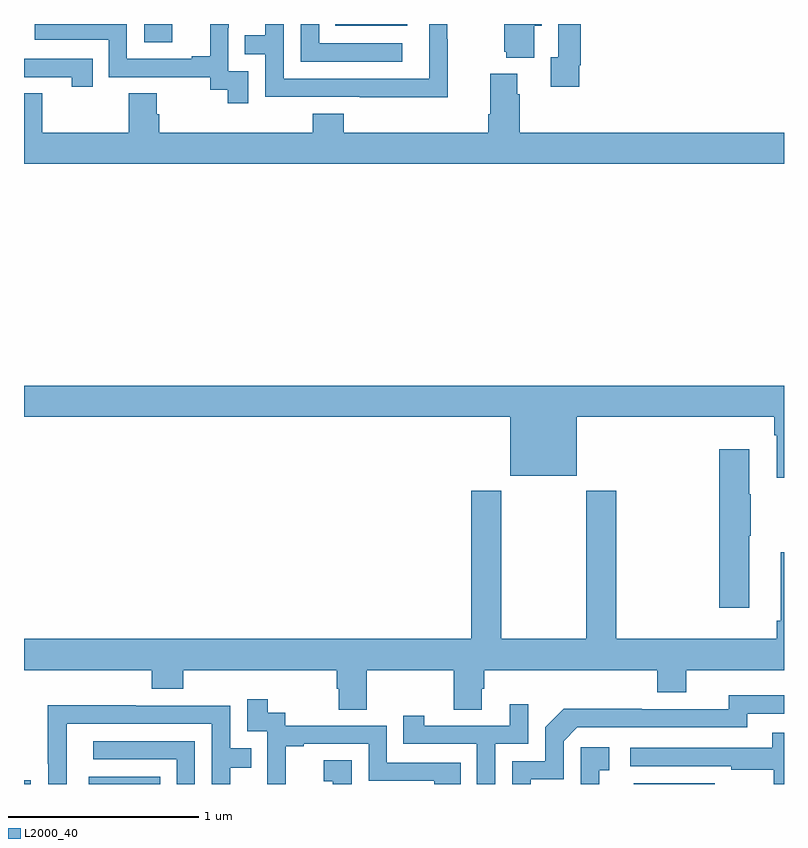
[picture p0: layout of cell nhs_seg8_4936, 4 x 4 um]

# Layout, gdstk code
import gdstk
lib = gdstk.Library(unit=1e-6, precision=1e-09)
def R(c, l, rs):  # rectangles x0, y0, x1, y1
    for r in rs: c.add(gdstk.rectangle(r[:2], r[2:], *l))
def P(c, l, *ps):  # polygons
    for p in ps: c.add(gdstk.Polygon(p, *l))
L2000_40 = (2000, 40)

nhs_seg8_4936 = lib.new_cell('nhs_seg8_4936')
R(nhs_seg8_4936, L2000_40, [(409,1115.9,409.035,1115.92), (409.34,1115.9,409.718,1115.938), (412.208,1115.9,412.636,1115.905), (409.632,1119.804,409.78,1119.9), (410.638,1119.89,411.016,1119.9)])
P(nhs_seg8_4936, L2000_40, [(411.231,1119.821),(411.228,1119.821),(411.228,1119.9),(411.132,1119.9),(411.132,1119.612),(410.367,1119.612),(410.367,1119.9),(410.271,1119.9),(410.271,1119.842),(410.161,1119.842),(410.161,1119.741),(410.271,1119.741),(410.271,1119.516),(410.767,1119.516),(410.767,1119.515),(411.231,1119.515)],
  [(410.992,1119.798),(410.553,1119.798),(410.553,1119.9),(410.457,1119.9),(410.457,1119.702),(410.992,1119.702)],
  [(410.181,1119.651),(410.076,1119.651),(410.076,1119.881),(410.078,1119.881),(410.078,1119.9),(409.979,1119.9),(409.979,1119.73),(409.883,1119.73),(409.883,1119.717),(409.542,1119.717),(409.542,1119.9),(409.057,1119.9),(409.057,1119.816),(409.446,1119.816),(409.446,1119.621),(409.98,1119.621),(409.98,1119.553),(410.073,1119.553),(410.073,1119.483),(410.181,1119.483)],
  [(411.922,1119.682),(411.929,1119.682),(411.929,1119.9),(411.813,1119.9),(411.813,1119.726),(411.773,1119.726),(411.773,1119.57),(411.922,1119.57)],
  [(411.685,1119.89),(411.724,1119.89),(411.724,1119.9),(411.527,1119.9),(411.527,1119.753),(411.539,1119.753),(411.539,1119.722),(411.685,1119.722)],
  [(409.361,1119.717),(409,1119.717),(409,1119.621),(409.25,1119.621),(409.25,1119.57),(409.361,1119.57)],
  [(413,1119.328),(411.608,1119.328),(411.608,1119.53),(411.595,1119.53),(411.595,1119.637),(411.455,1119.637),(411.455,1119.424),(411.443,1119.424),(411.443,1119.328),(410.684,1119.328),(410.684,1119.427),(410.519,1119.427),(410.519,1119.328),(409.712,1119.328),(409.712,1119.426),(409.699,1119.426),(409.699,1119.536),(409.552,1119.536),(409.552,1119.328),(409.095,1119.328),(409.095,1119.536),(409,1119.536),(409,1119.164),(413,1119.164)],
  [(413,1117.996),(409,1117.996),(409,1117.832),(411.56,1117.832),(411.56,1117.523),(411.91,1117.523),(411.91,1117.832),(412.949,1117.832),(412.949,1117.736),(412.961,1117.736),(412.961,1117.512),(413,1117.512)],
  [(412.816,1117.207),(412.824,1117.207),(412.824,1117.424),(412.816,1117.424),(412.816,1117.663),(412.658,1117.663),(412.658,1116.828),(412.816,1116.828)],
  [(410.805,1116.5),(411.262,1116.5),(411.262,1116.292),(411.409,1116.292),(411.409,1116.402),(411.422,1116.402),(411.422,1116.5),(412.334,1116.5),(412.334,1116.383),(412.486,1116.383),(412.486,1116.5),(413,1116.5),(413,1117.12),(412.982,1117.12),(412.982,1116.76),(412.963,1116.76),(412.963,1116.664),(412.118,1116.664),(412.118,1117.444),(411.958,1117.444),(411.958,1116.664),(411.513,1116.664),(411.513,1117.444),(411.353,1117.444),(411.353,1116.664),(409,1116.664),(409,1116.5),(409.673,1116.5),(409.673,1116.401),(409.838,1116.401),(409.838,1116.5),(410.645,1116.5),(410.645,1116.402),(410.657,1116.402),(410.657,1116.292),(410.805,1116.292)],
  [(411.667,1115.925),(411.84,1115.925),(411.84,1116.126),(411.912,1116.198),(412.806,1116.198),(412.806,1116.27),(413,1116.27),(413,1116.367),(412.71,1116.367),(412.71,1116.294),(412.25,1116.294),(412.25,1116.296),(411.842,1116.296),(411.744,1116.198),(411.744,1116.021),(411.57,1116.021),(411.57,1115.9),(411.667,1115.9)],
  [(410.378,1116.099),(410.473,1116.099),(410.473,1116.111),(410.814,1116.111),(410.814,1115.916),(411.159,1115.916),(411.159,1115.9),(411.299,1115.9),(411.299,1116.012),(410.91,1116.012),(410.91,1116.207),(410.376,1116.207),(410.376,1116.276),(410.284,1116.276),(410.284,1116.346),(410.175,1116.346),(410.175,1116.177),(410.28,1116.177),(410.28,1115.948),(410.279,1115.948),(410.279,1115.9),(410.378,1115.9)],
  [(411.48,1116.111),(411.654,1116.111),(411.654,1116.319),(411.557,1116.319),(411.557,1116.207),(411.106,1116.207),(411.106,1116.259),(410.995,1116.259),(410.995,1116.111),(411.384,1116.111),(411.384,1115.9),(411.48,1115.9)],
  [(409.224,1116.216),(409.989,1116.216),(409.989,1115.9),(410.085,1115.9),(410.085,1115.986),(410.195,1115.986),(410.195,1116.087),(410.085,1116.087),(410.085,1116.312),(409.589,1116.312),(409.589,1116.314),(409.126,1116.314),(409.126,1116.007),(409.128,1116.007),(409.128,1115.9),(409.224,1115.9)],
  [(413,1116.169),(412.939,1116.169),(412.939,1116.09),(412.191,1116.09),(412.191,1115.994),(412.723,1115.994),(412.723,1115.974),(412.947,1115.974),(412.947,1115.9),(413,1115.9)],
  [(409.899,1116.126),(409.365,1116.126),(409.365,1116.03),(409.803,1116.03),(409.803,1115.9),(409.899,1115.9)],
  [(412.028,1115.973),(412.081,1115.973),(412.081,1116.094),(411.93,1116.094),(411.93,1115.9),(412.028,1115.9)],
  [(410.724,1116.025),(410.577,1116.025),(410.577,1115.915),(410.626,1115.915),(410.626,1115.9),(410.724,1115.9)])

lib.write_gds('nhs_seg8_4936.gds')
